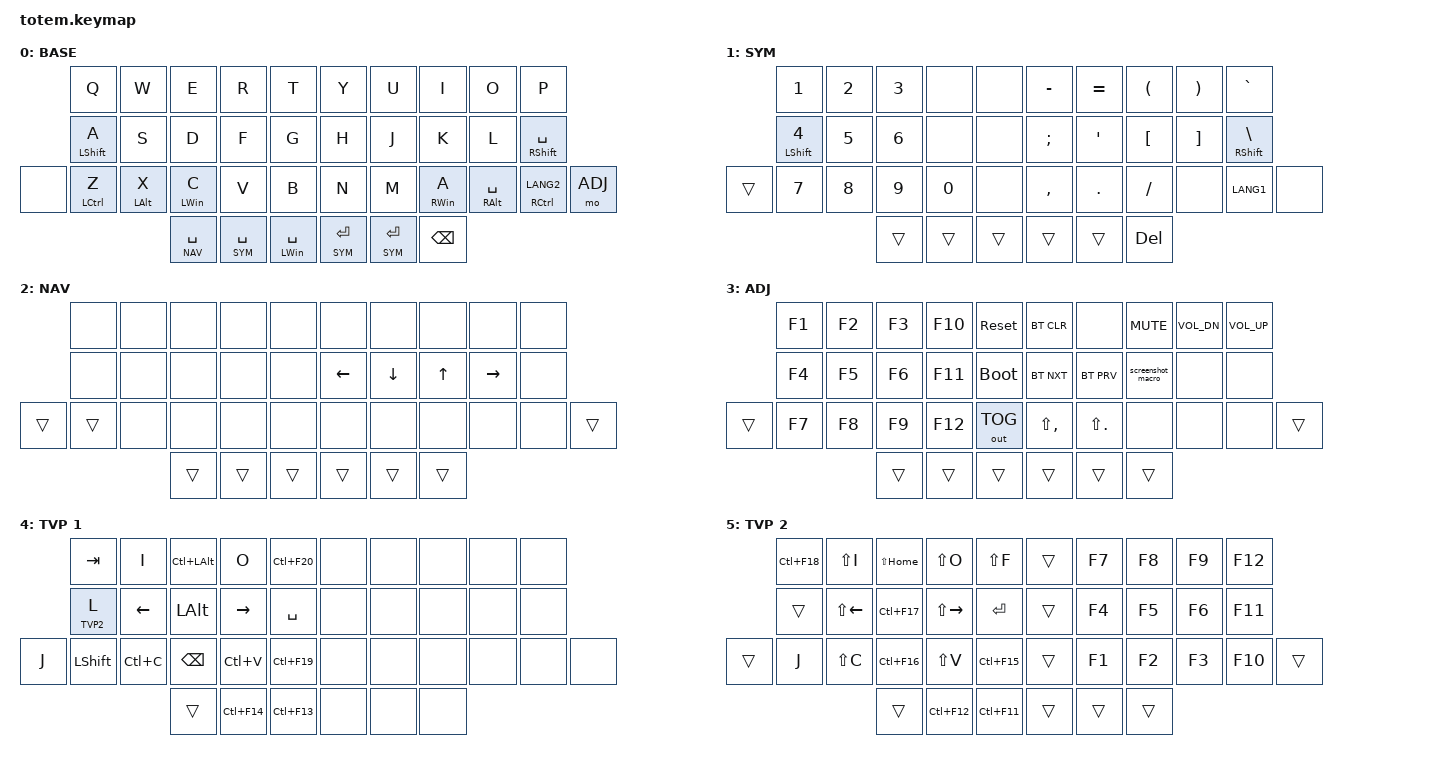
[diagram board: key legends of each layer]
//
//                                                        ▀▀▀▀▀     ▀▀▀▀▀          ▀▀█▀▀
//                                                        ▄▀▀▀▄  ▄  ▄▀▀▀▄  ▄  ▄▀▀▀▄  █  ▄▀▀▀▄
//                                                        █   █  █  █   █  █  █   █  █  █   █
//                                                         ▀▀▀   █   ▀▀▀   █   ▀▀▀   ▀   ▀▀▀
//                                                               █      ▄▄▄█▄▄▄    █   █  
//                                                               ▀      █  █  █     █▄█
//                                                             ▀▀▀▀▀    █  █  █      ▀
//                                                                      ▀  ▀  ▀
//
// ▄▄▄▄▄▄▄▄▄▄▄▄▄▄▄▄▄▄▄▄▄▄▄▄▄▄▄▄▄▄▄▄▄▄▄▄▄▄▄▄▄▄▄▄▄▄▄▄▄▄▄▄▄▄▄▄▄▄▄▄▄▄▄▄▄▄▄▄▄▄▄▄▄▄▄▄▄▄▄▄▄▄▄▄▄▄▄▄▄▄▄▄▄▄▄▄▄▄▄▄▄▄▄▄▄▄▄▄▄▄▄▄▄▄▄▄▄▄▄▄▄▄▄▄▄▄▄▄▄▄▄▄▄▄▄▄▄▄▄▄▄▄▄▄▄▄▄▄▄
       

#include <behaviors.dtsi>
#include <dt-bindings/zmk/keys.h>
#include <dt-bindings/zmk/bt.h>
#include <dt-bindings/zmk/outputs.h>

#define BASE 0
#define SYM  1
#define NAV  2
#define ADJ  3
#define TVP1 4
#define TVP2 5

&mt {
  quick-tap-ms = <100>;
  global-quick-tap;
  flavor = "tap-preferred";
  tapping-term-ms = <170>;
};

/ {
     combos {
            compatible = "zmk,combos";
            combo_esc {
                timeout-ms = <50>;
                key-positions = <0 1>;
                bindings = <&kp ESC>;
            };
            combo_tab {
                timeout-ms = <50>;
                key-positions = <10 11>;
                bindings = <&kp TAB>;
            };
            combo_tvp {
                timeout-ms = <100>;
                key-positions = <11 12 13>;
                bindings = <&tog TVP1>;
            };
    };

    macros {
        gif: gif {
            label = "giphy";
            compatible = "zmk,behavior-macro";
            #binding-cells = <0>;
            bindings
                = <&macro_press &kp LSHFT>
                , <&macro_tap &kp N2>
                , <&macro_release &kp LSHFT>
                , <&macro_tap &kp G &kp I &kp F>
                ;
        };
        screenshot_macro: screenshot_macro {
                compatible = "zmk,behavior-macro";
                #binding-cells = <0>;
                label = "Screenshot";
                bindings = <
                &macro_tap &kp LWIN &kp LSHIFT &kp N4
                >;
        };
    };

        keymap {
                compatible = "zmk,keymap";
// ▄▄▄▄▄▄▄▄▄▄▄▄▄▄▄▄▄▄▄▄▄▄▄▄▄▄▄▄▄▄▄▄▄▄▄▄▄▄▄▄▄▄▄▄▄▄▄▄▄▄▄▄▄▄▄▄▄▄▄▄▄▄▄▄▄▄▄▄▄▄▄▄▄▄▄▄▄▄▄▄▄▄▄▄▄▄▄▄▄▄▄▄▄▄▄▄▄▄▄▄▄▄▄▄▄▄▄▄▄▄▄▄▄▄▄▄▄▄▄▄▄▄▄▄▄▄▄▄▄▄▄▄▄▄▄▄▄▄▄▄▄▄▄▄▄▄▄▄▄

                base_layer {
//文字とレイヤーと修飾キーなど
// ┏━━━━━━━━━━━━━━━━━━━━━━━━━━━━━━━━━━━━━━━┓
label= "BASE"                              ;
// ┗━━━━━━━━━━━━━━━━━━━━━━━━━━━━━━━━━━━━━━━┛
//             ┏━━━━━━━━━━━┳━━━━━━━━━━━┳━━━━━━━━━━━┳━━━━━━━━━━━┳━━━━━━━━━━━┓   ┏━━━━━━━━━━━┳━━━━━━━━━━━┳━━━━━━━━━━━┳━━━━━━━━━━━┳━━━━━━━━━━━┓
//             ┃     Q     ┃     W     ┃     E     ┃     R     ┃     T     ┃   ┃     Y     ┃     U     ┃     I     ┃     O     ┃     P     ┃
//             ┣━━━━━━━━━━━╋━━━━━━━━━━━╋━━━━━━━━━━━╋━━━━━━━━━━━╋━━━━━━━━━━━┫   ┣━━━━━━━━━━━╋━━━━━━━━━━━╋━━━━━━━━━━━╋━━━━━━━━━━━╋━━━━━━━━━━━┫
//             ┃  A/SHIFT  ┃     S     ┃     D     ┃     F     ┃     G     ┃   ┃     H     ┃     J     ┃     K     ┃     L     ┃   /SHIFT  ┃
// ┏━━━━━━━━━━━╋━━━━━━━━━━━╋━━━━━━━━━━━╋━━━━━━━━━━━╋━━━━━━━━━━━╋━━━━━━━━━━━┫   ┣━━━━━━━━━━━╋━━━━━━━━━━━╋━━━━━━━━━━━╋━━━━━━━━━━━╋━━━━━━━━━━━╋━━━━━━━━━━━┓
// ┃           ┃  Z/ctrl   ┃   X/opt   ┃   C/cmd   ┃     V     ┃     B     ┃   ┃     N     ┃     M     ┃    /cmd   ┃    /opt   ┃   eng/ctrl┃    L5     ┃
// ┗━━━━━━━━━━━┻━━━━━━━━━━━┻━━━━━━━━━━━╋━━━━━━━━c━━━╋━━━━━━━━━━━╋━━━━━━━━━━━┫   ┣━━━━━━━━━━━╋━━━━━━━━━━━╋━━━━━━━━━━━╋━━━━━━━━━━━┻━━━━━━━━━━━┻━━━━━━━━━━━┛
//                                     ┃ space/L2  ┃ space/L1  ┃ space/cmd ┃   ┃  ENTER/L1 ┃ ENTER/L1  ┃  BSPC     ┃
//                                     ┗━━━━━━━━━━━┻━━━━━━━━━━━┻━━━━━━━━━━━┛   ┗━━━━━━━━━━━┻━━━━━━━━━━━┻━━━━━━━━━━━┛
 bindings = <
// ╷           ╷           ╷           ╷           ╷           ╷           ╷   ╷           ╷           ╷           ╷           ╷           ╷           ╷
                &kp Q       &kp W       &kp E       &kp R       &kp T           &kp Y       &kp U       &kp I       &kp O       &kp P
                &mt LSHIFT A &kp S       &kp D       &kp F       &kp G           &kp H       &kp J       &kp K       &kp L       &mt RSHIFT SPACE
    &none       &mt LCTRL Z &mt LALT X  &mt LWIN C   &kp V       &kp B           &kp N       &kp M       &mt RWIN A &mt RALT SPACE &mt RCTRL LANG2   &mo ADJ
                                        &lt NAV SPACE &lt SYM SPACE &mt LWIN SPACE  &lt SYM RET &lt SYM RET &kp BSPC
                        >;
                };

// ▄▄▄▄▄▄▄▄▄▄▄▄▄▄▄▄▄▄▄▄▄▄▄▄▄▄▄▄▄▄▄▄▄▄▄▄▄▄▄▄▄▄▄▄▄▄▄▄▄▄▄▄▄▄▄▄▄▄▄▄▄▄▄▄▄▄▄▄▄▄▄▄▄▄▄▄▄▄▄▄▄▄▄▄▄▄▄▄▄▄▄▄▄▄▄▄▄▄▄▄▄▄▄▄▄▄▄▄▄▄▄▄▄▄▄▄▄▄▄▄▄▄▄▄▄▄▄▄▄▄▄▄▄▄▄▄▄▄▄▄▄▄▄▄▄▄▄▄▄


                symbol_layer {
//数字と記号
// ┏━━━━━━━━━━━━━━━━━━━━━━━━━━━━━━━━━━━━━━━┓
label= "SYM"                            ;
// ┗━━━━━━━━━━━━━━━━━━━━━━━━━━━━━━━━━━━━━━━┛
//             ┏━━━━━━━━━━━┳━━━━━━━━━━━┳━━━━━━━━━━━┳━━━━━━━━━━━┳━━━━━━━━━━━┓   ┏━━━━━━━━━━━┳━━━━━━━━━━━┳━━━━━━━━━━━┳━━━━━━━━━━━┳━━━━━━━━━━━┓
//             ┃     1     ┃     2     ┃     3     ┃           ┃           ┃   ┃     -     ┃     =     ┃     (     ┃     )     ┃     `     ┃
//             ┣━━━━━━━━━━━╋━━━━━━━━━━━╋━━━━━━━━━━━╋━━━━━━━━━━━╋━━━━━━━━━━━┫   ┣━━━━━━━━━━━╋━━━━━━━━━━━╋━━━━━━━━━━━╋━━━━━━━━━━━╋━━━━━━━━━━━┫
//             ┃  4/SHIFT  ┃     5     ┃    6      ┃           ┃           ┃   ┃     ;     ┃     '     ┃     [     ┃     ]     ┃   \/SHIFT ┃
// ┏━━━━━━━━━━━╋━━━━━━━━━━━╋━━━━━━━━━━━╋━━━━━━━━━━━╋━━━━━━━━━━━╋━━━━━━━━━━━┫   ┣━━━━━━━━━━━╋━━━━━━━━━━━╋━━━━━━━━━━━╋━━━━━━━━━━━╋━━━━━━━━━━━╋━━━━━━━━━━━┓
// ┃           ┃      7    ┃     8     ┃     9     ┃    0      ┃           ┃   ┃     ,     ┃     .     ┃     /     ┃           ┃     JP    ┃           ┃
// ┗━━━━━━━━━━━┻━━━━━━━━━━━┻━━━━━━━━━━━╋━━━━━━━━━━━╋━━━━━━━━━━━╋━━━━━━━━━━━┫   ┣━━━━━━━━━━━╋━━━━━━━━━━━╋━━━━━━━━━━━╋━━━━━━━━━━━┻━━━━━━━━━━━┻━━━━━━━━━━━┛
//                                     ┃           ┃           ┃           ┃   ┃           ┃           ┃    DEL    ┃
//                                     ┗━━━━━━━━━━━┻━━━━━━━━━━━┻━━━━━━━━━━━┛   ┗━━━━━━━━━━━┻━━━━━━━━━━━┻━━━━━━━━━━━┛
 bindings = <
// ╷           ╷           ╷           ╷           ╷           ╷           ╷   ╷           ╷           ╷           ╷           ╷           ╷           ╷

                &kp N1     &kp N2      &kp N3      &none        &none           &kp MINUS   &kp EQUAL  &kp LPAR    &kp RPAR    &kp GRAVE
                &mt LSHIFT N4     &kp N5      &kp N6      &none        &none           &kp SEMI    &kp SQT    &kp LBKT    &kp RBKT    &mt RSHIFT BSLH
    &trans      &kp N7     &kp N8      &kp N9      &kp N0       &none           &kp COMMA   &kp DOT    &kp SLASH   &none       &kp LANG1   &none      
                                        &trans      &trans      &trans          &trans      &trans    &kp DEL      
                        >;
                };

// ▄▄▄▄▄▄▄▄▄▄▄▄▄▄▄▄▄▄▄▄▄▄▄▄▄▄▄▄▄▄▄▄▄▄▄▄▄▄▄▄▄▄▄▄▄▄▄▄▄▄▄▄▄▄▄▄▄▄▄▄▄▄▄▄▄▄▄▄▄▄▄▄▄▄▄▄▄▄▄▄▄▄▄▄▄▄▄▄▄▄▄▄▄▄▄▄▄▄▄▄▄▄▄▄▄▄▄▄▄▄▄▄▄▄▄▄▄▄▄▄▄▄▄▄▄▄▄▄▄▄▄▄▄▄▄▄▄▄▄▄▄▄▄▄▄▄▄▄▄


                sim_layer {
// ┏━━━━━━━━━━━━━━━━━━━━━━━━━━━━━━━━━━━━━━━┓
label= "NAV"                               ;
// ┗━━━━━━━━━━━━━━━━━━━━━━━━━━━━━━━━━━━━━━━┛
//             ┏━━━━━━━━━━━┳━━━━━━━━━━━┳━━━━━━━━━━━┳━━━━━━━━━━━┳━━━━━━━━━━━┓   ┏━━━━━━━━━━━┳━━━━━━━━━━━┳━━━━━━━━━━━┳━━━━━━━━━━━┳━━━━━━━━━━━┓
//             ┃           ┃           ┃           ┃           ┃           ┃   ┃           ┃           ┃           ┃           ┃           ┃
//             ┣━━━━━━━━━━━╋━━━━━━━━━━━╋━━━━━━━━━━━╋━━━━━━━━━━━╋━━━━━━━━━━━┫   ┣━━━━━━━━━━━╋━━━━━━━━━━━╋━━━━━━━━━━━╋━━━━━━━━━━━╋━━━━━━━━━━━┫
//             ┃           ┃           ┃           ┃           ┃           ┃   ┃     left  ┃    down   ┃    up     ┃   right   ┃           ┃
// ┏━━━━━━━━━━━╋━━━━━━━━━━━╋━━━━━━━━━━━╋━━━━━━━━━━━╋━━━━━━━━━━━╋━━━━━━━━━━━┫   ┣━━━━━━━━━━━╋━━━━━━━━━━━╋━━━━━━━━━━━╋━━━━━━━━━━━╋━━━━━━━━━━━╋━━━━━━━━━━━┓
// ┃           ┃           ┃           ┃           ┃           ┃           ┃   ┃           ┃           ┃           ┃           ┃           ┃           ┃
// ┗━━━━━━━━━━━┻━━━━━━━━━━━┻━━━━━━━━━━━╋━━━━━━━━━━━╋━━━━━━━━━━━╋━━━━━━━━━━━┫   ┣━━━━━━━━━━━╋━━━━━━━━━━━╋━━━━━━━━━━━╋━━━━━━━━━━━┻━━━━━━━━━━━┻━━━━━━━━━━━┛
//                                     ┃           ┃           ┃           ┃   ┃           ┃           ┃           ┃
//                                     ┗━━━━━━━━━━━┻━━━━━━━━━━━┻━━━━━━━━━━━┛   ┗━━━━━━━━━━━┻━━━━━━━━━━━┻━━━━━━━━━━━┛
 bindings = <
// ╷           ╷           ╷           ╷           ╷           ╷           ╷   ╷           ╷           ╷           ╷           ╷           ╷           ╷

                &none     &none       &none        &none       &none           &none     &none       &none        &none       &none      
                &none     &none       &none        &none       &none           &kp LEFT  &kp DOWN    &kp UP       &kp RIGHT       &none 
    &trans      &trans    &none       &none        &none       &none           &none     &none       &none        &none       &none   &trans         
                                      &trans       &trans      &trans          &trans    &trans      &trans      
                        >;
                };

// ▄▄▄▄▄▄▄▄▄▄▄▄▄▄▄▄▄▄▄▄▄▄▄▄▄▄▄▄▄▄▄▄▄▄▄▄▄▄▄▄▄▄▄▄▄▄▄▄▄▄▄▄▄▄▄▄▄▄▄▄▄▄▄▄▄▄▄▄▄▄▄▄▄▄▄▄▄▄▄▄▄▄▄▄▄▄▄▄▄▄▄▄▄▄▄▄▄▄▄▄▄▄▄▄▄▄▄▄▄▄▄▄▄▄▄▄▄▄▄▄▄▄▄▄▄▄▄▄▄▄▄▄▄▄▄▄▄▄▄▄▄▄▄▄▄▄▄▄▄


                adjust_layer {
//その他の便利キー
// ┏━━━━━━━━━━━━━━━━━━━━━━━━━━━━━━━━━━━━━━━┓
label= "ADJ"                               ;
// ┗━━━━━━━━━━━━━━━━━━━━━━━━━━━━━━━━━━━━━━━┛
//             ┏━━━━━━━━━━━┳━━━━━━━━━━━┳━━━━━━━━━━━┳━━━━━━━━━━━┳━━━━━━━━━━━┓   ┏━━━━━━━━━━━┳━━━━━━━━━━━┳━━━━━━━━━━━┳━━━━━━━━━━━┳━━━━━━━━━━━┓
//             ┃     F1    ┃     F2    ┃     F3    ┃     F10   ┃  RESET    ┃   ┃  BT CLEAR ┃           ┃    MUTE   ┃    VOL-   ┃    VOL+   ┃
//             ┣━━━━━━━━━━━╋━━━━━━━━━━━╋━━━━━━━━━━━╋━━━━━━━━━━━╋━━━━━━━━━━━┫   ┣━━━━━━━━━━━╋━━━━━━━━━━━╋━━━━━━━━━━━╋━━━━━━━━━━━╋━━━━━━━━━━━┫
//             ┃     F4    ┃     F5    ┃     F6    ┃    F11    ┃   BOOTLOAD┃   ┃ BT NEXT   ┃ BT PREV   ┃SCREENSHOT ┃           ┃           ┃
// ┏━━━━━━━━━━━╋━━━━━━━━━━━╋━━━━━━━━━━━╋━━━━━━━━━━━╋━━━━━━━━━━━╋━━━━━━━━━━━┫   ┣━━━━━━━━━━━╋━━━━━━━━━━━╋━━━━━━━━━━━╋━━━━━━━━━━━╋━━━━━━━━━━━╋━━━━━━━━━━━┓
// ┃           ┃     F7    ┃     F8    ┃     F9    ┃    F12    ┃  OUT TOG  ┃   ┃    <      ┃     >     ┃           ┃           ┃           ┃           ┃
// ┗━━━━━━━━━━━┻━━━━━━━━━━━┻━━━━━━━━━━━╋━━━━━━━━━━━╋━━━━━━━━━━━╋━━━━━━━━━━━┫   ┣━━━━━━━━━━━╋━━━━━━━━━━━╋━━━━━━━━━━━╋━━━━━━━━━━━┻━━━━━━━━━━━┻━━━━━━━━━━━┛
//                                     ┃           ┃           ┃           ┃   ┃           ┃           ┃           ┃
//                                     ┗━━━━━━━━━━━┻━━━━━━━━━━━┻━━━━━━━━━━━┛   ┗━━━━━━━━━━━┻━━━━━━━━━━━┻━━━━━━━━━━━┛
 bindings = <
// ╷           ╷           ╷           ╷           ╷           ╷           ╷   ╷           ╷           ╷           ╷           ╷           ╷           ╷

                &kp F1    &kp F2      &kp F3    &kp F10         &sys_reset      &bt BT_CLR &none      &kp C_MUTE  &kp C_VOL_DN &kp C_VOL_UP
                &kp F4    &kp F5      &kp F6    &kp F11         &bootloader     &bt BT_NXT &bt BT_PRV &screenshot_macro &none        &none  
    &trans      &kp F7    &kp F8      &kp F9    &kp F12         &out OUT_TOG    &kp LS(COMMA) &kp LS(DOT) &none       &none        &none      &trans         
                                        &trans      &trans      &trans          &trans      &trans      &trans      
                        >;
                };

// ▄▄▄▄▄▄▄▄▄▄▄▄▄▄▄▄▄▄▄▄▄▄▄▄▄▄▄▄▄▄▄▄▄▄▄▄▄▄▄▄▄▄▄▄▄▄▄▄▄▄▄▄▄▄▄▄▄▄▄▄▄▄▄▄▄▄▄▄▄▄▄▄▄▄▄▄▄▄▄▄▄▄▄▄▄▄▄▄▄▄▄▄▄▄▄▄▄▄▄▄▄▄▄▄▄▄▄▄▄▄▄▄▄▄▄▄▄▄▄▄▄▄▄▄▄▄▄▄▄▄▄▄▄▄▄▄▄▄▄▄▄▄▄▄▄▄▄▄▄


                tvp1_layer {
// ┏━━━━━━━━━━━━━━━━━━━━━━━━━━━━━━━━━━━━━━━┓
label= "TVP 1"                             ;
// ┗━━━━━━━━━━━━━━━━━━━━━━━━━━━━━━━━━━━━━━━┛
//             ┏━━━━━━━━━━━┳━━━━━━━━━━━┳━━━━━━━━━━━┳━━━━━━━━━━━┳━━━━━━━━━━━┓   ┏━━━━━━━━━━━┳━━━━━━━━━━━┳━━━━━━━━━━━┳━━━━━━━━━━━┳━━━━━━━━━━━┓
//             ┃ NEXT FILE ┃ MARK IN   ┃ ROTATE    ┃ MARK OUT  ┃ SHOW SNAP ┃   ┃           ┃           ┃           ┃           ┃           ┃
//             ┣━━━━━━━━━━━╋━━━━━━━━━━━╋━━━━━━━━━━━╋━━━━━━━━━━━╋━━━━━━━━━━━┫   ┣━━━━━━━━━━━╋━━━━━━━━━━━╋━━━━━━━━━━━╋━━━━━━━━━━━╋━━━━━━━━━━━┫
//             ┃ TVP II    ┃ LEFT      ┃ PAN       ┃ RIGHT     ┃ PLAY/FLIP ┃   ┃           ┃           ┃           ┃           ┃           ┃
// ┏━━━━━━━━━━━╋━━━━━━━━━━━╋━━━━━━━━━━━╋━━━━━━━━━━━╋━━━━━━━━━━━╋━━━━━━━━━━━┫   ┣━━━━━━━━━━━╋━━━━━━━━━━━╋━━━━━━━━━━━╋━━━━━━━━━━━╋━━━━━━━━━━━╋━━━━━━━━━━━┓
// ┃ FULLSCR   ┃ SHIFT     ┃ COPY      ┃ DELETE    ┃ PASTE     ┃ IMG MARK  ┃   ┃           ┃           ┃           ┃           ┃           ┃           ┃
// ┗━━━━━━━━━━━┻━━━━━━━━━━━┻━━━━━━━━━━━╋━━━━━━━━━━━╋━━━━━━━━━━━╋━━━━━━━━━━━┫   ┣━━━━━━━━━━━╋━━━━━━━━━━━╋━━━━━━━━━━━╋━━━━━━━━━━━┻━━━━━━━━━━━┻━━━━━━━━━━━┛
//                                     ┃           ┃ UNDO/SAVE ┃  SEL/MOV  ┃   ┃           ┃           ┃           ┃
//                                     ┗━━━━━━━━━━━┻━━━━━━━━━━━┻━━━━━━━━━━━┛   ┗━━━━━━━━━━━┻━━━━━━━━━━━┻━━━━━━━━━━━┛
 bindings = <
// ╷           ╷           ╷           ╷           ╷           ╷           ╷   ╷           ╷           ╷           ╷           ╷           ╷           ╷

                &kp TAB     &kp I       &kp LC(LALT) &kp O      &kp LC(F20)     &none       &none       &none       &none       &none
                &lt TVP2 L  &kp LEFT    &kp LALT    &kp RIGHT   &kp SPACE       &none       &none       &none       &none       &none
    &kp J       &kp LSHFT   &kp LC(C)   &kp BSPC    &kp LC(V)   &kp LC(F19)     &none       &none       &none       &none       &none       &none        
                                        &trans      &kp LC(F14) &kp LC(F13)     &none       &none       &none    
                        >;
                };

// ▄▄▄▄▄▄▄▄▄▄▄▄▄▄▄▄▄▄▄▄▄▄▄▄▄▄▄▄▄▄▄▄▄▄▄▄▄▄▄▄▄▄▄▄▄▄▄▄▄▄▄▄▄▄▄▄▄▄▄▄▄▄▄▄▄▄▄▄▄▄▄▄▄▄▄▄▄▄▄▄▄▄▄▄▄▄▄▄▄▄▄▄▄▄▄▄▄▄▄▄▄▄▄▄▄▄▄▄▄▄▄▄▄▄▄▄▄▄▄▄▄▄▄▄▄▄▄▄▄▄▄▄▄▄▄▄▄▄▄▄▄▄▄▄▄▄▄▄▄


                tvp2_layer {
// ┏━━━━━━━━━━━━━━━━━━━━━━━━━━━━━━━━━━━━━━━┓
label= "TVP 2"                             ;
// ┗━━━━━━━━━━━━━━━━━━━━━━━━━━━━━━━━━━━━━━━┛
//             ┏━━━━━━━━━━━┳━━━━━━━━━━━┳━━━━━━━━━━━┳━━━━━━━━━━━┳━━━━━━━━━━━┓   ┏━━━━━━━━━━━┳━━━━━━━━━━━┳━━━━━━━━━━━┳━━━━━━━━━━━┳━━━━━━━━━━━┓
//             ┃ SOLO      ┃ TOGGLE IN ┃ RESET ROT ┃ TOGGLE OUT┃ TAKE SNAP ┃   ┃           ┃           ┃           ┃           ┃           ┃
//             ┣━━━━━━━━━━━╋━━━━━━━━━━━╋━━━━━━━━━━━╋━━━━━━━━━━━╋━━━━━━━━━━━┫   ┣━━━━━━━━━━━╋━━━━━━━━━━━╋━━━━━━━━━━━╋━━━━━━━━━━━╋━━━━━━━━━━━┫
//             ┃ ---       ┃ LAST KEY  ┃ NEW KEY   ┃ NEXT KEY  ┃ ENTER     ┃   ┃           ┃           ┃           ┃           ┃           ┃
// ┏━━━━━━━━━━━╋━━━━━━━━━━━╋━━━━━━━━━━━╋━━━━━━━━━━━╋━━━━━━━━━━━╋━━━━━━━━━━━┫   ┣━━━━━━━━━━━╋━━━━━━━━━━━╋━━━━━━━━━━━╋━━━━━━━━━━━╋━━━━━━━━━━━╋━━━━━━━━━━━┓
// ┃           ┃ FULLSCR   ┃ CPY2BRUSH ┃ DEL HEAD  ┃ PSTinPLACE┃ BOOK MARK ┃   ┃           ┃           ┃           ┃           ┃           ┃           ┃
// ┗━━━━━━━━━━━┻━━━━━━━━━━━┻━━━━━━━━━━━╋━━━━━━━━━━━╋━━━━━━━━━━━╋━━━━━━━━━━━┫   ┣━━━━━━━━━━━╋━━━━━━━━━━━╋━━━━━━━━━━━╋━━━━━━━━━━━┻━━━━━━━━━━━┻━━━━━━━━━━━┛
//                                     ┃           ┃ REDO/SAV1 ┃TRANS/WARP ┃   ┃           ┃           ┃           ┃
//                                     ┗━━━━━━━━━━━┻━━━━━━━━━━━┻━━━━━━━━━━━┛   ┗━━━━━━━━━━━┻━━━━━━━━━━━┻━━━━━━━━━━━┛
 bindings = <
// ╷           ╷           ╷           ╷           ╷           ╷           ╷   ╷           ╷           ╷           ╷           ╷           ╷           ╷

                &kp LC(F18) &kp LS(I)  &kp LS(HOME) &kp LS(O)   &kp LS(F)       &trans      &kp F7      &kp F8      &kp F9      &kp F12
                &trans      &kp LS(LEFT) &kp LC(F17) &kp LS(RIGHT) &kp RET      &trans      &kp F4      &kp F5      &kp F6      &kp F11  
    &trans      &kp J       &kp LS(C)   &kp LC(F16) &kp LS(V)   &kp LC(F15)     &trans      &kp F1      &kp F2      &kp F3      &kp F10     &trans         
                                        &trans      &kp LC(F12) &kp LC(F11)     &trans      &trans      &trans      
                        >;
                };
        };
};
